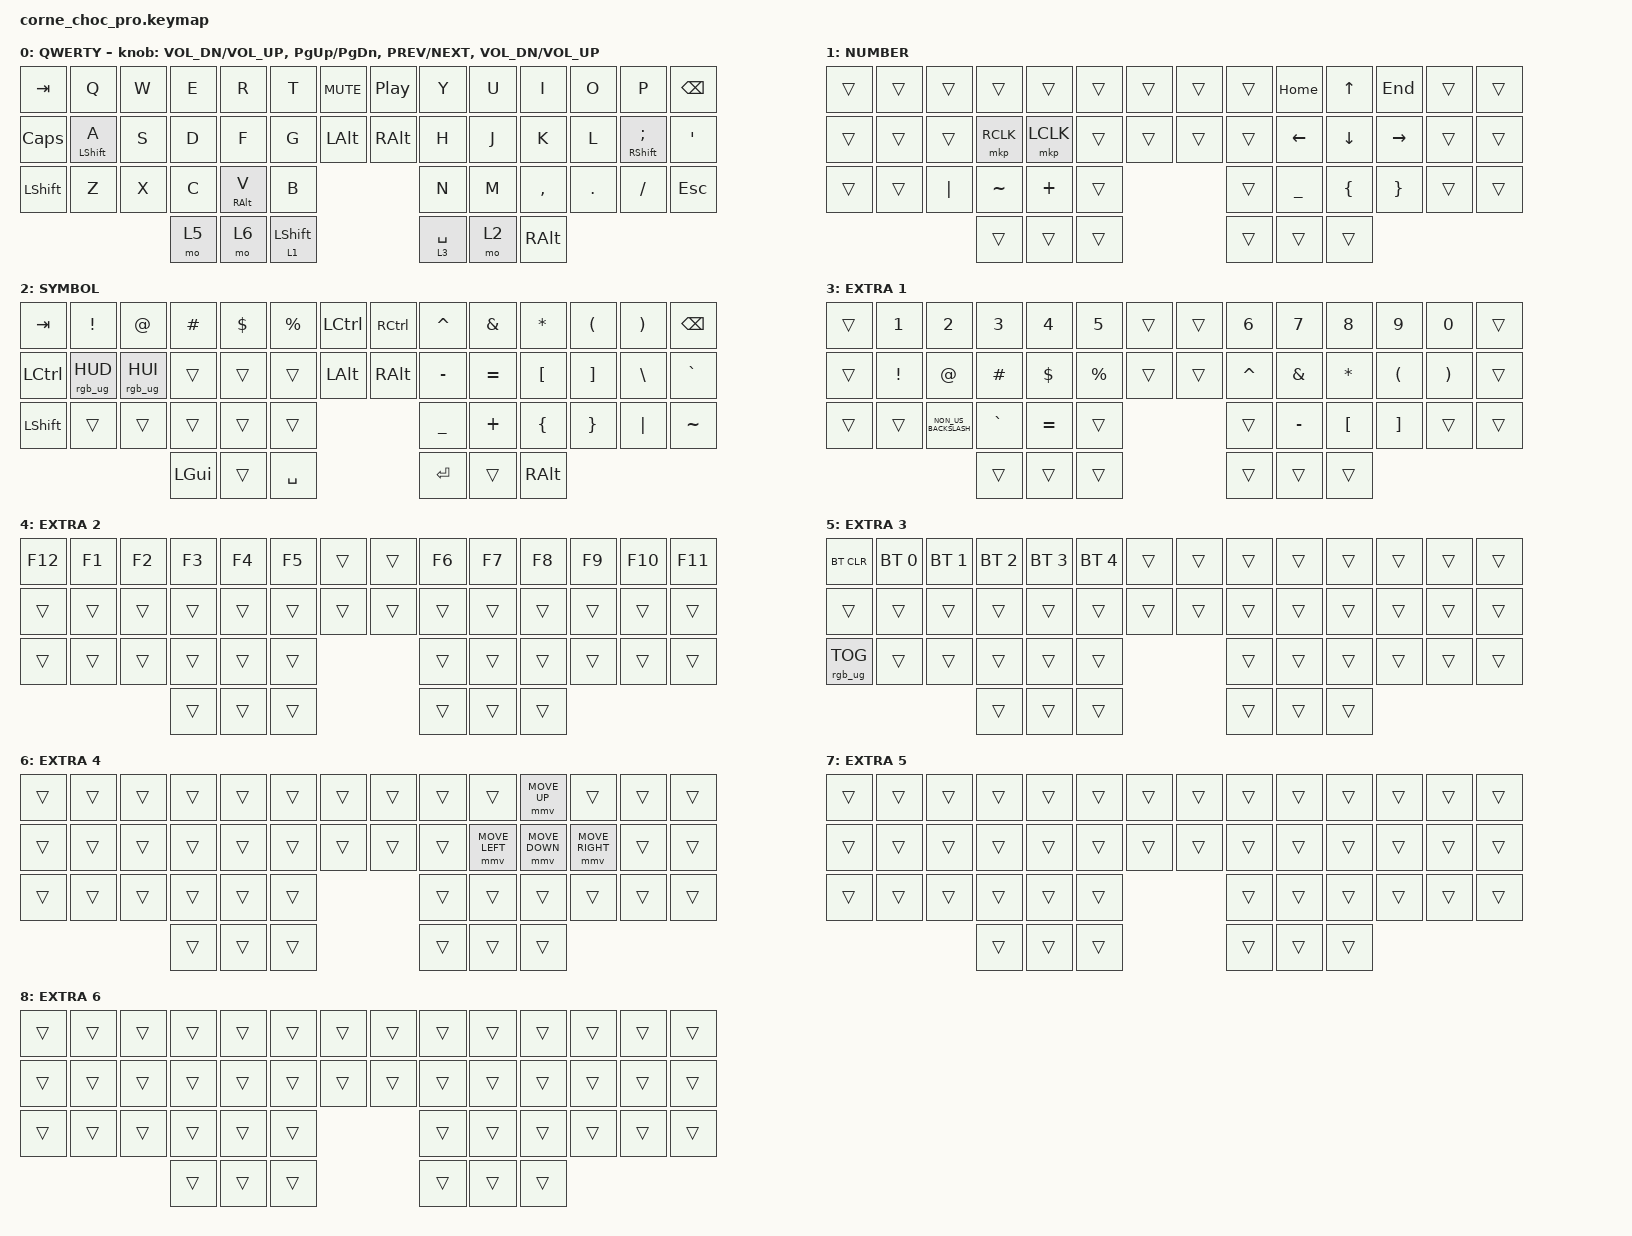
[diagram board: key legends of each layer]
/*
 * Copyright (c) 2020 The ZMK Contributors
 *
 * SPDX-License-Identifier: MIT
 */

#include <behaviors.dtsi>
#include <dt-bindings/zmk/bt.h>
#include <dt-bindings/zmk/keys.h>
#include <dt-bindings/zmk/pointing.h>
#include <dt-bindings/zmk/rgb.h>

/ {
    chosen { zmk,physical-layout = &default_layout; };
};

/ {
    combos {
        compatible = "zmk,combos";

        delete {
            bindings = <&kp DELETE>;
            key-positions = <9 10>;
        };

        backspace {
            bindings = <&kp BACKSPACE>;
            key-positions = <10 11>;
        };

        enter {
            bindings = <&kp ENTER>;
            key-positions = <35 36>;
        };

        tab {
            bindings = <&kp TAB>;
            key-positions = <4 3>;
        };

        insert {
            bindings = <&kp INS>;
            key-positions = <32 31>;
        };

        escape {
            bindings = <&kp ESCAPE>;
            key-positions = <3 2>;
        };

        left_control {
            bindings = <&kp LEFT_CONTROL>;
            key-positions = <18 17>;
        };

        right_control {
            bindings = <&kp RIGHT_CONTROL>;
            key-positions = <23 24>;
        };

        left_alt {
            bindings = <&kp LEFT_ALT>;
            key-positions = <17 16>;
        };

        right_alt {
            bindings = <&kp LALT>;
            key-positions = <24 25>;
        };

        control_alt_left {
            bindings = <&kp LA(LCTRL)>;
            key-positions = <18 17 16>;
        };

        control_alt_right {
            bindings = <&kp LA(LCTRL)>;
            key-positions = <23 24 25>;
        };

        win_f {
            bindings = <&kp LG(F)>;
            key-positions = <4 3 2>;
        };

        win_j {
            bindings = <&kp LG(J)>;
            key-positions = <9 10 11>;
        };

        ringt_win {
            bindings = <&kp LGUI>;
            key-positions = <35 36 37>;
        };

        f_layer {
            bindings = <&mo 4>;
            key-positions = <42 43>;
        };
    };

    keymap {
        compatible = "zmk,keymap";

        default_layer {
            display-name = "QWERTY";

            // --------------------------------------------------------------------------------
            // |  TAB |  Q  |  W  |  E  |  R  |  T  |  MUTE |  PP   |  Y  |  U   |  I  |  O  |  P  | BSPC |
            // | CTRL |  A  |  S  |  D  |  F  |  G  |  LALT |  RALT |  H  |  J   |  K  |  L  |  ;  |  '   |
            // | SHFT |  Z  |  X  |  C  |  V  |  B  |               |  N  |  M   |  ,  |  .  |  /  | ESC  |
            //                    | GUI | LWR | SPC |               | ENT | RSE  | ALT |

            bindings = <
&kp TAB    &kp Q             &kp W  &kp E  &kp R            &kp T             &kp C_MUTE  &kp C_PP  &kp Y        &kp U  &kp I      &kp O    &kp P                 &kp BSPC
&kp CLCK   &mt LEFT_SHIFT A  &kp S  &kp D  &kp F            &kp G             &kp LALT    &kp RALT  &kp H        &kp J  &kp K      &kp L    &mt RIGHT_SHIFT SEMI  &kp SQT
&kp LSHFT  &kp Z             &kp X  &kp C  &mt RIGHT_ALT V  &kp B                                   &kp N        &kp M  &kp COMMA  &kp DOT  &kp FSLH              &kp ESC
                                    &mo 5  &mo 6            &lt 1 LEFT_SHIFT                        &lt 3 SPACE  &mo 2  &kp RALT
            >;

            sensor-bindings = <&inc_dec_kp C_VOL_DN C_VOL_UP &inc_dec_kp PG_UP PG_DN &inc_dec_kp C_PREV C_NEXT &inc_dec_kp C_VOL_DN C_VOL_UP>;
        };

        nav_layer {
            display-name = "NUMBER";

            // -----------------------------------------------------------------------------------------
            // |  TAB |  1  |  2  |  3  |  4  |  5    |  LCTRL | RCTRL |  6  |  7  |  8  |  9  |  0  | BSPC |
            // | CTRL | BT1 | BT2 | BT3 | BT4 | BT5   |  LALT  | RALT  | LFT | DWN |  UP | RGT |     |      |
            // | SHFT | BTCR| RGB | RST | BOOT| Unlock|        |       |     |     |     |     |     |      |
            //                    | GUI |     | SPC   |        | ENT   |     | ALT |

            bindings = <
&trans  &trans  &trans    &trans     &trans     &trans  &trans  &trans  &trans  &kp HOME   &kp UP_ARROW    &kp END          &trans  &trans
&trans  &trans  &trans    &mkp RCLK  &mkp LCLK  &trans  &trans  &trans  &trans  &kp LEFT   &kp DOWN_ARROW  &kp RIGHT_ARROW  &trans  &trans
&trans  &trans  &kp PIPE  &kp TILDE  &kp PLUS   &trans                  &trans  &kp UNDER  &kp LEFT_BRACE  &kp RIGHT_BRACE  &trans  &trans
                          &trans     &trans     &trans                  &trans  &trans     &trans
            >;
        };

        raise_layer {
            display-name = "SYMBOL";

            // -----------------------------------------------------------------------------------------
            // |  TAB |  !  |  @  |  #  |  $  |  %  | LCTRL | RCTRL |  ^  |  &  |  *  |  (  |  )  | BSPC |
            // | CTRL | HUD | HUI |     |     |     |  LALT | RALT  |  -  |  =  |  [  |  ]  |  \  |  `   |
            // | SHFT |     |     |     |     |     |               |  _  |  +  |  {  |  }  | "|" |  ~   |
            //                    | GUI |     | SPC |               | ENT |     | ALT |

            bindings = <
&kp TAB    &kp EXCL         &kp AT           &kp HASH  &kp DLLR  &kp PRCNT  &kp LCTRL  &kp RCTRL  &kp CARET  &kp AMPS   &kp ASTRK  &kp LPAR  &kp RPAR  &kp BSPC
&kp LCTRL  &rgb_ug RGB_HUD  &rgb_ug RGB_HUI  &trans    &trans    &trans     &kp LALT   &kp RALT   &kp MINUS  &kp EQUAL  &kp LBKT   &kp RBKT  &kp BSLH  &kp GRAVE
&kp LSHFT  &trans           &trans           &trans    &trans    &trans                           &kp UNDER  &kp PLUS   &kp LBRC   &kp RBRC  &kp PIPE  &kp TILDE
                                             &kp LGUI  &trans    &kp SPACE                        &kp RET    &trans     &kp RALT
            >;
        };

        numbers_layer {
            display-name = "EXTRA 1";
            bindings = <
&trans  &kp NUMBER_1     &kp NUMBER_2          &kp NUMBER_3  &kp NUMBER_4  &kp N5       &trans  &trans  &kp NUMBER_6  &kp N7         &kp N8            &kp N9                &kp N0                 &trans
&trans  &kp EXCLAMATION  &kp AT_SIGN           &kp HASH      &kp DOLLAR    &kp PERCENT  &trans  &trans  &kp CARET     &kp AMPERSAND  &kp ASTERISK      &kp LEFT_PARENTHESIS  &kp RIGHT_PARENTHESIS  &trans
&trans  &trans           &kp NON_US_BACKSLASH  &kp GRAVE     &kp EQUAL     &trans                       &trans        &kp MINUS      &kp LEFT_BRACKET  &kp RIGHT_BRACKET     &trans                 &trans
                                               &trans        &trans        &trans                       &trans        &trans         &trans
            >;
        };

        func_layer {
            display-name = "EXTRA 2";
            bindings = <
&kp F12  &kp F1  &kp F2  &kp F3  &kp F4  &kp F5  &trans  &trans  &kp F6  &kp F7  &kp F8  &kp F9  &kp F10  &kp F11
&trans   &trans  &trans  &trans  &trans  &trans  &trans  &trans  &trans  &trans  &trans  &trans  &trans   &trans
&trans   &trans  &trans  &trans  &trans  &trans                  &trans  &trans  &trans  &trans  &trans   &trans
                         &trans  &trans  &trans                  &trans  &trans  &trans
            >;
        };

        system_layer {
            display-name = "EXTRA 3";
            bindings = <
&bt BT_CLR       &bt BT_SEL 0  &bt BT_SEL 1  &bt BT_SEL 2  &bt BT_SEL 3  &bt BT_SEL 4  &trans  &trans  &trans  &trans  &trans  &trans  &trans  &trans
&trans           &trans        &trans        &trans        &trans        &trans        &trans  &trans  &trans  &trans  &trans  &trans  &trans  &trans
&rgb_ug RGB_TOG  &trans        &trans        &trans        &trans        &trans                        &trans  &trans  &trans  &trans  &trans  &trans
                                             &trans        &trans        &trans                        &trans  &trans  &trans
            >;
        };

        mouse_layer {
            display-name = "EXTRA 4";
            bindings = <
&trans  &trans  &trans  &trans  &trans  &trans  &trans  &trans  &trans  &trans          &mmv MOVE_UP    &trans           &trans  &trans
&trans  &trans  &trans  &trans  &trans  &trans  &trans  &trans  &trans  &mmv MOVE_LEFT  &mmv MOVE_DOWN  &mmv MOVE_RIGHT  &trans  &trans
&trans  &trans  &trans  &trans  &trans  &trans                  &trans  &trans          &trans          &trans           &trans  &trans
                        &trans  &trans  &trans                  &trans  &trans          &trans
            >;
        };

        extra_layer_5 {
            display-name = "EXTRA 5";
            bindings = <
&trans  &trans  &trans  &trans  &trans  &trans  &trans  &trans  &trans  &trans  &trans  &trans  &trans  &trans
&trans  &trans  &trans  &trans  &trans  &trans  &trans  &trans  &trans  &trans  &trans  &trans  &trans  &trans
&trans  &trans  &trans  &trans  &trans  &trans                  &trans  &trans  &trans  &trans  &trans  &trans
                        &trans  &trans  &trans                  &trans  &trans  &trans
            >;
        };

        extra_layer_6 {
            display-name = "EXTRA 6";
            bindings = <
&trans  &trans  &trans  &trans  &trans  &trans  &trans  &trans  &trans  &trans  &trans  &trans  &trans  &trans
&trans  &trans  &trans  &trans  &trans  &trans  &trans  &trans  &trans  &trans  &trans  &trans  &trans  &trans
&trans  &trans  &trans  &trans  &trans  &trans                  &trans  &trans  &trans  &trans  &trans  &trans
                        &trans  &trans  &trans                  &trans  &trans  &trans
            >;
        };
    };
};
